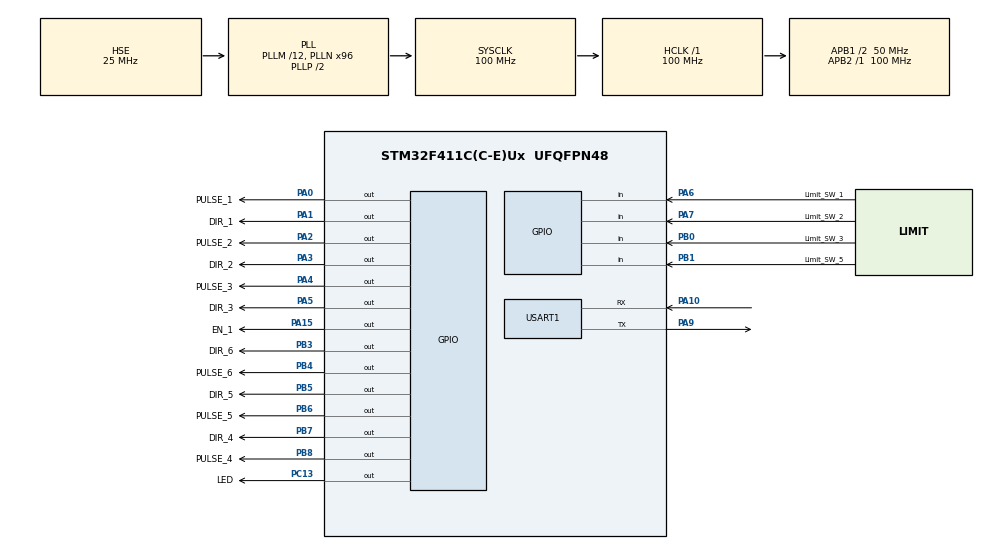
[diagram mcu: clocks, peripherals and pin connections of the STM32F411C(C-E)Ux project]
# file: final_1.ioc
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Mcu.Family=STM32F4
Mcu.Name=STM32F411C(C-E)Ux
Mcu.Package=UFQFPN48
NVIC.PVD_IRQn=true\:0\:0\:false\:false\:true\:true\:true\:true
NVIC.PriorityGroup=NVIC_PRIORITYGROUP_4
NVIC.TIM1_UP_TIM10_IRQn=true\:0\:0\:false\:false\:true\:true\:true\:true
NVIC.USART1_IRQn=true\:1\:0\:true\:false\:true\:true\:true\:true
PA0-WKUP.GPIO_Label=PULSE_1
PA0-WKUP.Signal=GPIO_Output
PA1.GPIO_Label=DIR_1
PA1.Signal=GPIO_Output
PA10.Mode=Asynchronous
PA10.Signal=USART1_RX
PA13.Mode=Serial_Wire
PA13.Signal=SYS_JTMS-SWDIO
PA14.Mode=Serial_Wire
PA14.Signal=SYS_JTCK-SWCLK
PA15.GPIO_Label=EN_1
PA15.Signal=GPIO_Output
PA2.GPIO_Label=PULSE_2
PA2.Signal=GPIO_Output
PA3.GPIO_Label=DIR_2
PA3.Signal=GPIO_Output
PA4.GPIO_Label=PULSE_3
PA4.Signal=GPIO_Output
PA5.GPIO_Label=DIR_3
PA5.Signal=GPIO_Output
PA6.GPIO_Label=Limit_SW_1
PA6.Signal=GPIO_Input
PA7.GPIO_Label=Limit_SW_2
PA7.Signal=GPIO_Input
PA9.Mode=Asynchronous
PA9.Signal=USART1_TX
PB0.GPIO_Label=Limit_SW_3
PB0.Signal=GPIO_Input
PB1.GPIO_Label=Limit_SW_5
PB1.Signal=GPIO_Input
PB3.GPIO_Label=DIR_6
PB3.Signal=GPIO_Output
PB4.GPIO_Label=PULSE_6
PB4.Signal=GPIO_Output
PB5.GPIO_Label=DIR_5
PB5.Signal=GPIO_Output
PB6.GPIO_Label=PULSE_5
PB6.Signal=GPIO_Output
PB7.GPIO_Label=DIR_4
PB7.Signal=GPIO_Output
PB8.GPIO_Label=PULSE_4
PB8.Signal=GPIO_Output
PC13-ANTI_TAMP.GPIO_Label=LED
PC13-ANTI_TAMP.Signal=GPIO_Output
PH0\ -\ OSC_IN.Mode=HSE-External-Oscillator
PH0\ -\ OSC_IN.Signal=RCC_OSC_IN
PH1\ -\ OSC_OUT.Mode=HSE-External-Oscillator
PH1\ -\ OSC_OUT.Signal=RCC_OSC_OUT
ProjectManager.HeapSize=0x200
ProjectManager.StackSize=0x400
ProjectManager.TargetToolchain=MDK-ARM V5.32
RCC.48MHZClocksFreq_Value=50000000
RCC.AHBFreq_Value=100000000
RCC.APB1CLKDivider=RCC_HCLK_DIV2
RCC.APB1Freq_Value=50000000
RCC.APB1TimFreq_Value=100000000
RCC.APB2Freq_Value=100000000
RCC.APB2TimFreq_Value=100000000
RCC.CortexFreq_Value=100000000
RCC.HCLKFreq_Value=100000000
RCC.HSE_VALUE=25000000
RCC.HSI_VALUE=16000000
RCC.LSE_VALUE=32768
RCC.PLLM=12
RCC.PLLN=96
RCC.PLLSourceVirtual=RCC_PLLSOURCE_HSE
RCC.SYSCLKFreq_VALUE=100000000
RCC.SYSCLKSource=RCC_SYSCLKSOURCE_PLLCLK
RCC.VCOOutputFreq_Value=200000000
TIM1.AutoReloadPreload=TIM_AUTORELOAD_PRELOAD_ENABLE
TIM1.Channel-Output\ Compare1\ No\ Output=TIM_CHANNEL_1
TIM1.Period=1000-1
TIM1.Prescaler=100-1
USART1.VirtualMode=VM_ASYNC
VP_TIM1_VS_ClockSourceINT.Mode=Internal
VP_TIM1_VS_no_output1.Mode=Output Compare1 No Output
board=custom

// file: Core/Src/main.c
/* USER CODE BEGIN Header */
/**
  ******************************************************************************
  * @file           : main.c
  * @brief          : Main program body
  ******************************************************************************
  * @attention
  *
  * Copyright (c) 2025 STMicroelectronics.
  * All rights reserved.
  *
  * This software is licensed under terms that can be found in the LICENSE file
  * in the root directory of this software component.
  * If no LICENSE file comes with this software, it is provided AS-IS.
  *
  ******************************************************************************
  */
/* USER CODE END Header */
#include "main.h"

/* USER CODE BEGIN Includes */
#include <string.h>
#include <math.h>
#include <stdlib.h>
/* USER CODE END Includes */

/* USER CODE BEGIN PD */
#define TIMER_INTERRUPT 3000
#define STEP_PER_EVOLUTION 6400
#define ANGLE_PER_STEP 0.05625
//#define RATIO_1 8.33
//#define RATIO_1 4.8125
#define RATIO_1 (8.33*5.18)
#define RATIO_2 6.4166
#define RATIO_3 (5.0833*13.7335)
#define RATIO_4 1
#define RATIO_5 3.75
#define RATIO_6 1
/* USER CODE END PD */

TIM_HandleTypeDef htim1;

UART_HandleTypeDef huart1;

/* USER CODE BEGIN PV */
//------------------------CONTROL---------------------
typedef struct {
	GPIO_TypeDef* DIR_Port ;
	uint16_t DIR_Pin ;
	GPIO_TypeDef* Pulse_Port ;
	uint16_t Pulse_Pin ;
	float ratio ;
}	StepperMotor ;

StepperMotor motor1 = {DIR_1_GPIO_Port, DIR_1_Pin , PULSE_1_GPIO_Port , PULSE_1_Pin , (float)RATIO_1} ;
StepperMotor motor2 =	{DIR_2_GPIO_Port, DIR_2_Pin , PULSE_2_GPIO_Port , PULSE_2_Pin , (float)RATIO_2} ;
StepperMotor motor3 = {DIR_3_GPIO_Port, DIR_3_Pin , PULSE_3_GPIO_Port , PULSE_3_Pin , (float)RATIO_3} ;
StepperMotor motor4 = {DIR_4_GPIO_Port, DIR_4_Pin , PULSE_4_GPIO_Port , PULSE_4_Pin , (float)RATIO_4} ;
StepperMotor motor5 = {DIR_5_GPIO_Port, DIR_5_Pin , PULSE_5_GPIO_Port , PULSE_5_Pin , (float)RATIO_5} ;
StepperMotor motor6 = {DIR_6_GPIO_Port, DIR_6_Pin , PULSE_6_GPIO_Port , PULSE_6_Pin , (float)RATIO_6} ;

float trajectory[10000] ;
uint16_t trajec_index = 0 ;
uint8_t step_state = 0 ;
volatile uint32_t count = 0 ;
uint32_t step_target ;
uint8_t joint ;
//------------------------UART------------------------
uint8_t rxData , data_flag = 1 ;
char rxBuffer[10] ;
uint8_t rxIndex = 0 ;
char test[10] = "OK" ;
long long time , pre_time ;
/* USER CODE END PV */

void SystemClock_Config(void);
static void MX_GPIO_Init(void);
static void MX_TIM1_Init(void);
static void MX_USART1_UART_Init(void);
/* USER CODE BEGIN PFP */
float Angle_to_Step(float angle , int Ratio) ;
void Run_Stepper (float angle , StepperMotor motor , GPIO_PinState dir)  ;
void Start(void) ;
/* USER CODE END PFP */

int main(void)
{

  /* MCU Configuration--------------------------------------------------------*/

  /* Reset of all peripherals, Initializes the Flash interface and the Systick. */
  HAL_Init();

  /* Configure the system clock */
  SystemClock_Config();

  /* Initialize all configured peripherals */
  MX_GPIO_Init();
  MX_TIM1_Init();
  MX_USART1_UART_Init();
  /* USER CODE BEGIN 2 */

	HAL_UART_Receive_IT(&huart1 , &rxData , 1) ;
	//HAL_TIM_Base_Start_IT(&htim1) ;
	Start() ;
  /* USER CODE END 2 */

  /* Infinite loop */
  while (1)
  {

    /* USER CODE BEGIN 3 */
		if(data_flag == 0)
		{
				Run_Stepper(trajectory[trajec_index++] , motor1 , GPIO_PIN_SET) ;
				Run_Stepper(trajectory[trajec_index++] , motor2 , GPIO_PIN_SET) ;
				Run_Stepper(trajectory[trajec_index++] , motor3 , GPIO_PIN_SET) ;
				Run_Stepper(trajectory[trajec_index++] , motor4 , GPIO_PIN_SET) ;
				Run_Stepper(trajectory[trajec_index++] , motor5 , GPIO_PIN_SET) ;
				Run_Stepper(trajectory[trajec_index++] , motor6 , GPIO_PIN_SET) ;
		}

  }
  /* USER CODE END 3 */
}

void SystemClock_Config(void)
{
  RCC_OscInitTypeDef RCC_OscInitStruct = {0};
  RCC_ClkInitTypeDef RCC_ClkInitStruct = {0};

  /** Configure the main internal regulator output voltage
  */
  __HAL_RCC_PWR_CLK_ENABLE();
  __HAL_PWR_VOLTAGESCALING_CONFIG(PWR_REGULATOR_VOLTAGE_SCALE1);

  /** Initializes the RCC Oscillators according to the specified parameters
  * in the RCC_OscInitTypeDef structure.
  */
  RCC_OscInitStruct.OscillatorType = RCC_OSCILLATORTYPE_HSE;
  RCC_OscInitStruct.HSEState = RCC_HSE_ON;
  RCC_OscInitStruct.PLL.PLLState = RCC_PLL_ON;
  RCC_OscInitStruct.PLL.PLLSource = RCC_PLLSOURCE_HSE;
  RCC_OscInitStruct.PLL.PLLM = 12;
  RCC_OscInitStruct.PLL.PLLN = 96;
  RCC_OscInitStruct.PLL.PLLP = RCC_PLLP_DIV2;
  RCC_OscInitStruct.PLL.PLLQ = 4;
  if (HAL_RCC_OscConfig(&RCC_OscInitStruct) != HAL_OK)
  {
    Error_Handler();
  }

  /** Initializes the CPU, AHB and APB buses clocks
  */
  RCC_ClkInitStruct.ClockType = RCC_CLOCKTYPE_HCLK|RCC_CLOCKTYPE_SYSCLK
                              |RCC_CLOCKTYPE_PCLK1|RCC_CLOCKTYPE_PCLK2;
  RCC_ClkInitStruct.SYSCLKSource = RCC_SYSCLKSOURCE_PLLCLK;
  RCC_ClkInitStruct.AHBCLKDivider = RCC_SYSCLK_DIV1;
  RCC_ClkInitStruct.APB1CLKDivider = RCC_HCLK_DIV2;
  RCC_ClkInitStruct.APB2CLKDivider = RCC_HCLK_DIV1;

  if (HAL_RCC_ClockConfig(&RCC_ClkInitStruct, FLASH_LATENCY_3) != HAL_OK)
  {
    Error_Handler();
  }
}

static void MX_TIM1_Init(void)
{

  TIM_ClockConfigTypeDef sClockSourceConfig = {0};
  TIM_MasterConfigTypeDef sMasterConfig = {0};
  TIM_OC_InitTypeDef sConfigOC = {0};
  TIM_BreakDeadTimeConfigTypeDef sBreakDeadTimeConfig = {0};

  htim1.Instance = TIM1;
  htim1.Init.Prescaler = 100-1;
  htim1.Init.CounterMode = TIM_COUNTERMODE_UP;
  htim1.Init.Period = 1000-1;
  htim1.Init.ClockDivision = TIM_CLOCKDIVISION_DIV1;
  htim1.Init.RepetitionCounter = 0;
  htim1.Init.AutoReloadPreload = TIM_AUTORELOAD_PRELOAD_ENABLE;
  if (HAL_TIM_Base_Init(&htim1) != HAL_OK)
  {
    Error_Handler();
  }
  sClockSourceConfig.ClockSource = TIM_CLOCKSOURCE_INTERNAL;
  if (HAL_TIM_ConfigClockSource(&htim1, &sClockSourceConfig) != HAL_OK)
  {
    Error_Handler();
  }
  if (HAL_TIM_OC_Init(&htim1) != HAL_OK)
  {
    Error_Handler();
  }
  sMasterConfig.MasterOutputTrigger = TIM_TRGO_RESET;
  sMasterConfig.MasterSlaveMode = TIM_MASTERSLAVEMODE_DISABLE;
  if (HAL_TIMEx_MasterConfigSynchronization(&htim1, &sMasterConfig) != HAL_OK)
  {
    Error_Handler();
  }
  sConfigOC.OCMode = TIM_OCMODE_TIMING;
  sConfigOC.Pulse = 0;
  sConfigOC.OCPolarity = TIM_OCPOLARITY_HIGH;
  sConfigOC.OCNPolarity = TIM_OCNPOLARITY_HIGH;
  sConfigOC.OCFastMode = TIM_OCFAST_DISABLE;
  sConfigOC.OCIdleState = TIM_OCIDLESTATE_RESET;
  sConfigOC.OCNIdleState = TIM_OCNIDLESTATE_RESET;
  if (HAL_TIM_OC_ConfigChannel(&htim1, &sConfigOC, TIM_CHANNEL_1) != HAL_OK)
  {
    Error_Handler();
  }
  sBreakDeadTimeConfig.OffStateRunMode = TIM_OSSR_DISABLE;
  sBreakDeadTimeConfig.OffStateIDLEMode = TIM_OSSI_DISABLE;
  sBreakDeadTimeConfig.LockLevel = TIM_LOCKLEVEL_OFF;
  sBreakDeadTimeConfig.DeadTime = 0;
  sBreakDeadTimeConfig.BreakState = TIM_BREAK_DISABLE;
  sBreakDeadTimeConfig.BreakPolarity = TIM_BREAKPOLARITY_HIGH;
  sBreakDeadTimeConfig.AutomaticOutput = TIM_AUTOMATICOUTPUT_DISABLE;
  if (HAL_TIMEx_ConfigBreakDeadTime(&htim1, &sBreakDeadTimeConfig) != HAL_OK)
  {
    Error_Handler();
  }

}

static void MX_USART1_UART_Init(void)
{

  huart1.Instance = USART1;
  huart1.Init.BaudRate = 115200;
  huart1.Init.WordLength = UART_WORDLENGTH_8B;
  huart1.Init.StopBits = UART_STOPBITS_1;
  huart1.Init.Parity = UART_PARITY_NONE;
  huart1.Init.Mode = UART_MODE_TX_RX;
  huart1.Init.HwFlowCtl = UART_HWCONTROL_NONE;
  huart1.Init.OverSampling = UART_OVERSAMPLING_16;
  if (HAL_UART_Init(&huart1) != HAL_OK)
  {
    Error_Handler();
  }

}

static void MX_GPIO_Init(void)
{
  GPIO_InitTypeDef GPIO_InitStruct = {0};

  /* GPIO Ports Clock Enable */
  __HAL_RCC_GPIOC_CLK_ENABLE();
  __HAL_RCC_GPIOH_CLK_ENABLE();
  __HAL_RCC_GPIOA_CLK_ENABLE();
  __HAL_RCC_GPIOB_CLK_ENABLE();

  /*Configure GPIO pin Output Level */
  HAL_GPIO_WritePin(LED_GPIO_Port, LED_Pin, GPIO_PIN_RESET);

  /*Configure GPIO pin Output Level */
  HAL_GPIO_WritePin(GPIOA, PULSE_1_Pin|DIR_1_Pin|PULSE_2_Pin|DIR_2_Pin
                          |PULSE_3_Pin|DIR_3_Pin|EN_1_Pin, GPIO_PIN_RESET);

  /*Configure GPIO pin Output Level */
  HAL_GPIO_WritePin(GPIOB, DIR_6_Pin|PULSE_6_Pin|DIR_5_Pin|PULSE_5_Pin
                          |DIR_4_Pin|PULSE_4_Pin, GPIO_PIN_RESET);

  /*Configure GPIO pin : LED_Pin */
  GPIO_InitStruct.Pin = LED_Pin;
  GPIO_InitStruct.Mode = GPIO_MODE_OUTPUT_PP;
  GPIO_InitStruct.Pull = GPIO_NOPULL;
  GPIO_InitStruct.Speed = GPIO_SPEED_FREQ_LOW;
  HAL_GPIO_Init(LED_GPIO_Port, &GPIO_InitStruct);

  /*Configure GPIO pins : PULSE_1_Pin DIR_1_Pin PULSE_2_Pin DIR_2_Pin
                           PULSE_3_Pin DIR_3_Pin EN_1_Pin */
  GPIO_InitStruct.Pin = PULSE_1_Pin|DIR_1_Pin|PULSE_2_Pin|DIR_2_Pin
                          |PULSE_3_Pin|DIR_3_Pin|EN_1_Pin;
  GPIO_InitStruct.Mode = GPIO_MODE_OUTPUT_PP;
  GPIO_InitStruct.Pull = GPIO_NOPULL;
  GPIO_InitStruct.Speed = GPIO_SPEED_FREQ_LOW;
  HAL_GPIO_Init(GPIOA, &GPIO_InitStruct);

  /*Configure GPIO pins : Limit_SW_1_Pin Limit_SW_2_Pin */
  GPIO_InitStruct.Pin = Limit_SW_1_Pin|Limit_SW_2_Pin;
  GPIO_InitStruct.Mode = GPIO_MODE_INPUT;
  GPIO_InitStruct.Pull = GPIO_NOPULL;
  HAL_GPIO_Init(GPIOA, &GPIO_InitStruct);

  /*Configure GPIO pins : Limit_SW_3_Pin Limit_SW_5_Pin */
  GPIO_InitStruct.Pin = Limit_SW_3_Pin|Limit_SW_5_Pin;
  GPIO_InitStruct.Mode = GPIO_MODE_INPUT;
  GPIO_InitStruct.Pull = GPIO_NOPULL;
  HAL_GPIO_Init(GPIOB, &GPIO_InitStruct);

  /*Configure GPIO pins : DIR_6_Pin PULSE_6_Pin DIR_5_Pin PULSE_5_Pin
                           DIR_4_Pin PULSE_4_Pin */
  GPIO_InitStruct.Pin = DIR_6_Pin|PULSE_6_Pin|DIR_5_Pin|PULSE_5_Pin
                          |DIR_4_Pin|PULSE_4_Pin;
  GPIO_InitStruct.Mode = GPIO_MODE_OUTPUT_PP;
  GPIO_InitStruct.Pull = GPIO_NOPULL;
  GPIO_InitStruct.Speed = GPIO_SPEED_FREQ_LOW;
  HAL_GPIO_Init(GPIOB, &GPIO_InitStruct);

}

/* USER CODE BEGIN 4 */
void HAL_UART_RxCpltCallback(UART_HandleTypeDef *huart)
{
	if(huart->Instance == USART1)
	{
		if(rxData != '\n')
		{
			data_flag = 1 ;
			rxBuffer[rxIndex++] = rxData ;
		}
		else if(rxData == ' ')
		{
			trajectory[trajec_index++] = atof(rxBuffer) ;
			rxIndex = 0 ;
			memset(rxBuffer , 0 , sizeof(rxBuffer)) ;
		}
		else if(rxData == '\n')
		{
			data_flag = 0 ;
			trajec_index = 0 ;
		}
		HAL_UART_Receive_IT(&huart1 , &rxData , 1) ;
	}
}

/*
void HAL_TIM_PeriodElapsedCallback(TIM_HandleTypeDef *htim)
{
	if(count < step_target)
	{
		if(step_state == 0) //2 ISR for 1 PULSE HIGH->LOW
		{
			step_state = 1 ;
			HAL_GPIO_WritePin(PULSE_5_GPIO_Port , PULSE_5_Pin , GPIO_PIN_SET) ;
		}
		else
		{
			step_state = 0 ;
			HAL_GPIO_WritePin(PULSE_5_GPIO_Port , PULSE_5_Pin , GPIO_PIN_RESET) ;
			count++ ;
		}
	}
	else
	{
		step_target = 0 ;
		count = 0 ;
	}
}
*/

void Run_Stepper (float angle , StepperMotor motor , GPIO_PinState dir)
{
	int step_target = (angle /(float)ANGLE_PER_STEP) * motor.ratio ;
	HAL_GPIO_WritePin(motor.DIR_Port , motor.DIR_Pin , dir) ;
	for(int i = 0 ; i<step_target ; i++)
	{
		HAL_GPIO_WritePin(motor.Pulse_Port , motor.Pulse_Pin , GPIO_PIN_SET) ;
		HAL_Delay(1) ;
		HAL_GPIO_WritePin(motor.Pulse_Port , motor.Pulse_Pin , GPIO_PIN_RESET) ;
	}
}

void Start()
{
	float step = 0 ;
	while(1)
	{
		int sw_1 = HAL_GPIO_ReadPin(Limit_SW_1_GPIO_Port , Limit_SW_1_Pin) ;
		int sw_2 = HAL_GPIO_ReadPin(Limit_SW_2_GPIO_Port , Limit_SW_1_Pin) ;
		int sw_3 = HAL_GPIO_ReadPin(Limit_SW_3_GPIO_Port , Limit_SW_1_Pin) ;
		int sw_5 = HAL_GPIO_ReadPin(Limit_SW_5_GPIO_Port , Limit_SW_5_Pin) ;

		if(sw_1 == 0) Run_Stepper(0 , motor1 , GPIO_PIN_SET) ;
		else Run_Stepper(step , motor1 , GPIO_PIN_SET) ;
		if(sw_2 == 0) Run_Stepper(0 , motor2 , GPIO_PIN_SET) ;
		else Run_Stepper(step , motor2 , GPIO_PIN_SET) ;
		if(sw_3 == 0) Run_Stepper(0 , motor3 , GPIO_PIN_SET) ;
		else Run_Stepper(step , motor3 , GPIO_PIN_SET) ;
		if(sw_5 == 0) Run_Stepper(0 , motor5 , GPIO_PIN_SET) ;
		else Run_Stepper(step , motor5 , GPIO_PIN_SET) ;
		step++ ;
		if(sw_1 == 0 && sw_2 == 0 && sw_3 == 0 && sw_5 == 0) break ;
		HAL_Delay(100) ;
	}
}
/* USER CODE END 4 */

void Error_Handler(void)
{
  __disable_irq();
  while (1)
  {
  }
}
